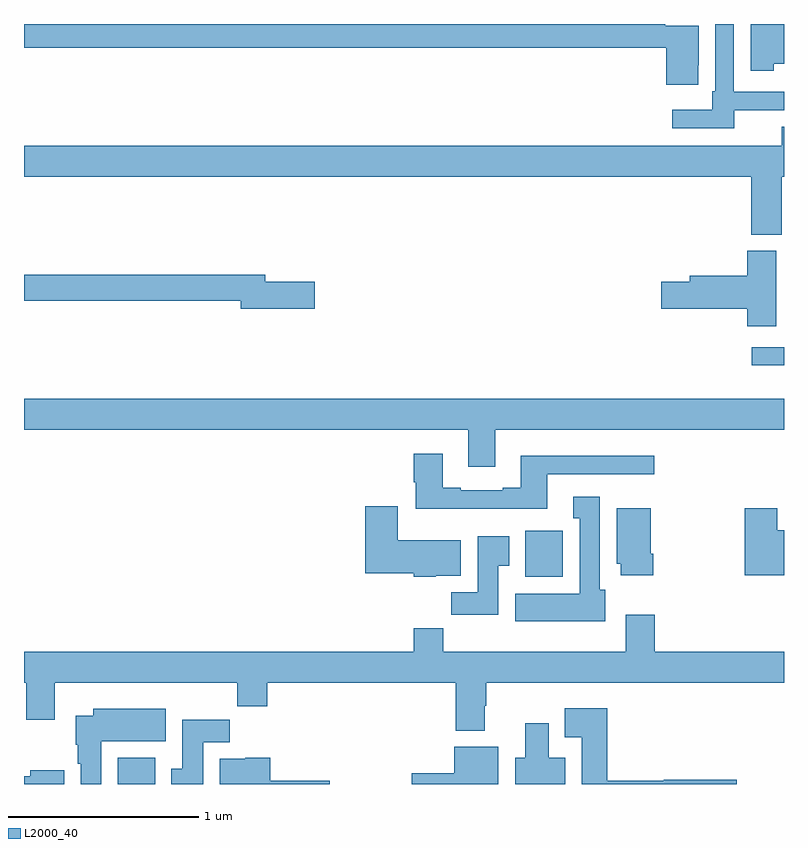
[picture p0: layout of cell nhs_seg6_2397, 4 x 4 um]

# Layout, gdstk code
import gdstk
lib = gdstk.Library(unit=1e-6, precision=1e-09)
def R(c, l, rs):  # rectangles x0, y0, x1, y1
    for r in rs: c.add(gdstk.rectangle(r[:2], r[2:], *l))
def P(c, l, *ps):  # polygons
    for p in ps: c.add(gdstk.Polygon(p, *l))
L2000_40 = (2000, 40)

nhs_seg6_2397 = lib.new_cell('nhs_seg6_2397')
R(nhs_seg6_2397, L2000_40, [(255.494,917.5,255.691,917.638), (257.639,918.59,257.836,918.832), (258.831,919.703,259,919.8)])
P(nhs_seg6_2397, L2000_40, [(258.738,921.047),(259,921.047),(259,921.144),(258.735,921.144),(258.735,921.5),(258.639,921.5),(258.639,921.145),(258.623,921.145),(258.623,921.049),(258.411,921.049),(258.411,920.952),(258.738,920.952)],
  [(258.549,921.283),(258.55,921.283),(258.55,921.492),(258.374,921.492),(258.374,921.5),(255,921.5),(255,921.376),(258.38,921.376),(258.38,921.18),(258.549,921.18)],
  [(258.946,921.29),(259,921.29),(259,921.5),(258.824,921.5),(258.824,921.254),(258.946,921.254)],
  [(258.987,920.696),(259,920.696),(259,920.959),(258.989,920.959),(258.989,920.86),(255,920.86),(255,920.696),(258.827,920.696),(258.827,920.392),(258.987,920.392)],
  [(258.958,920.307),(258.806,920.307),(258.806,920.174),(258.503,920.174),(258.503,920.144),(258.354,920.144),(258.354,920.002),(258.806,920.002),(258.806,919.908),(258.958,919.908)],
  [(256.531,920.144),(256.27,920.144),(256.27,920.18),(255,920.18),(255,920.044),(256.142,920.044),(256.142,920.002),(256.531,920.002)],
  [(257.479,919.364),(259,919.364),(259,919.528),(255,919.528),(255,919.364),(257.339,919.364),(257.339,919.17),(257.479,919.17)],
  [(257.755,919.131),(258.316,919.131),(258.316,919.228),(257.615,919.228),(257.615,919.06),(257.519,919.06),(257.519,919.047),(257.299,919.047),(257.299,919.06),(257.203,919.06),(257.203,919.237),(257.051,919.237),(257.051,919.089),(257.063,919.089),(257.063,918.95),(257.755,918.95)],
  [(258.058,918.522),(258.031,918.522),(258.031,919.012),(257.891,919.012),(257.891,918.899),(257.924,918.899),(257.924,918.502),(257.585,918.502),(257.585,918.356),(258.058,918.356)],
  [(257.166,918.596),(257.299,918.596),(257.299,918.784),(256.966,918.784),(256.966,918.961),(256.796,918.961),(256.796,918.608),(257.052,918.608),(257.052,918.59),(257.166,918.59)],
  [(258.311,918.712),(258.298,918.712),(258.298,918.952),(258.119,918.952),(258.119,918.66),(258.14,918.66),(258.14,918.6),(258.311,918.6)],
  [(259,918.835),(258.964,918.835),(258.964,918.952),(258.794,918.952),(258.794,918.599),(259,918.599)],
  [(257.497,918.649),(257.554,918.649),(257.554,918.805),(257.387,918.805),(257.387,918.508),(257.248,918.508),(257.248,918.39),(257.497,918.39)],
  [(257.425,917.912),(257.433,917.912),(257.433,918.032),(259,918.032),(259,918.196),(258.32,918.196),(258.32,918.391),(258.167,918.391),(258.167,918.196),(257.207,918.196),(257.207,918.32),(257.051,918.32),(257.051,918.196),(255,918.196),(255,918.032),(255.011,918.032),(255.011,917.838),(255.163,917.838),(255.163,918.032),(256.123,918.032),(256.123,917.908),(256.279,917.908),(256.279,918.032),(257.273,918.032),(257.273,917.78),(257.425,917.78)],
  [(258.751,917.522),(258.366,917.522),(258.366,917.516),(258.071,917.516),(258.071,917.899),(257.846,917.899),(257.846,917.747),(257.936,917.747),(257.936,917.5),(258.751,917.5)],
  [(255.406,917.726),(255.745,917.726),(255.745,917.896),(255.365,917.896),(255.365,917.86),(255.272,917.86),(255.272,917.706),(255.284,917.706),(255.284,917.606),(255.299,917.606),(255.299,917.5),(255.406,917.5)],
  [(255.943,917.72),(256.082,917.72),(256.082,917.838),(255.833,917.838),(255.833,917.58),(255.776,917.58),(255.776,917.5),(255.943,917.5)],
  [(257.848,917.638),(257.761,917.638),(257.761,917.821),(257.639,917.821),(257.639,917.638),(257.585,917.638),(257.585,917.5),(257.848,917.5)],
  [(257.497,917.695),(257.264,917.695),(257.264,917.556),(257.04,917.556),(257.04,917.5),(257.497,917.5)],
  [(256.61,917.516),(256.295,917.516),(256.295,917.638),(256.164,917.638),(256.164,917.632),(256.031,917.632),(256.031,917.5),(256.61,917.5)],
  [(255.211,917.572),(255.032,917.572),(255.032,917.54),(255,917.54),(255,917.5),(255.211,917.5)])

lib.write_gds('nhs_seg6_2397.gds')
